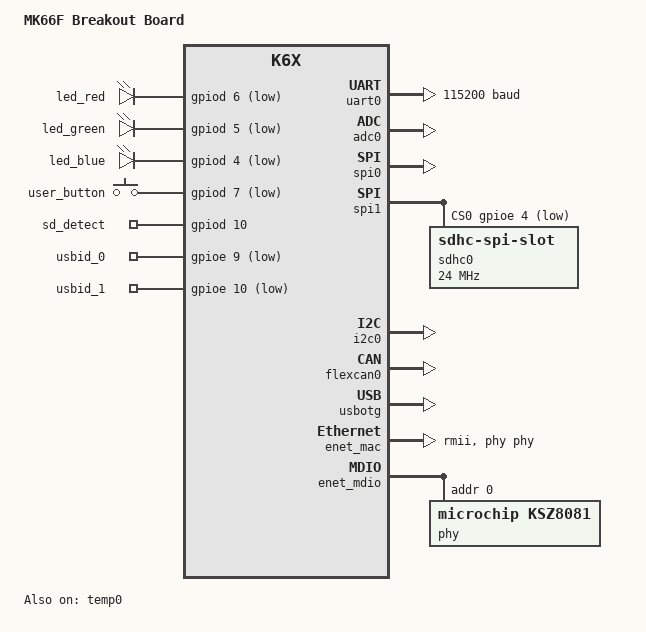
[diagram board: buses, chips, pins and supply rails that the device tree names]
/dts-v1/;
#include <nxp/nxp_k66.dtsi>
#include "k66f_breakout-pinctrl.dtsi"

/ {
    model = "MK66F Breakout Board";
    compatible = "nxp,mk66f18", "nxp,k66f", "nxp,k6x";

    chosen {
        zephyr,sram = &sram0;
        zephyr,flash = &flash0;
        zephyr,console = &uart0;
    };

    aliases {
        led0 = &led_red;
        sw0 = &user_button;
    };

    leds {
        compatible = "gpio-leds";
        led_red:   led_0 { gpios = <&gpiod 6 GPIO_ACTIVE_LOW>; };
        led_green: led_1 { gpios = <&gpiod 5 GPIO_ACTIVE_LOW>; };
        led_blue:  led_2 { gpios = <&gpiod 4 GPIO_ACTIVE_LOW>; };
    };

    buttons {
        compatible = "gpio-keys";
        user_button: button_0 { gpios = <&gpiod 7  (GPIO_ACTIVE_LOW  | GPIO_PULL_UP)>;   };
        sd_detect:   sd_det_0 { gpios = <&gpiod 10 (GPIO_ACTIVE_HIGH | GPIO_PULL_DOWN)>; };
        usbid_0:     usbid_0  { gpios = <&gpioe 9  (GPIO_ACTIVE_LOW  | GPIO_PULL_UP)>;   };
        usbid_1:     usbid_1  { gpios = <&gpioe 10 (GPIO_ACTIVE_LOW  | GPIO_PULL_UP)>;   };
    };
};

&cpu0 {
    clock-frequency = <120000000>;
};

&sim {
    pllfll-select = <KINETIS_SIM_PLLFLLSEL_MCGPLLCLK>;
    er32k-select = <KINETIS_SIM_ER32KSEL_RTC>;
};

&gpioa {
    status = "okay";
};

&gpiob {
    status = "okay";
};

&gpioc {
    status = "okay";
};

&gpiod {
    status = "okay";
};

&gpioe {
    status = "okay";
};

&uart0 {
    status = "okay";
    current-speed = <115200>;
    pinctrl-0 = <&uart0_default>;
    pinctrl-names = "default";
};

&adc0 {
    status = "okay";
};

&temp0 {
    status = "okay";
};

&spi0 {
    status = "okay";
    pinctrl-0 = <&spi0_default>;
    pinctrl-names = "default";
    cs-gpios = <&gpioc 4 GPIO_ACTIVE_LOW>;
};

&spi1 {
    status = "okay";
    pinctrl-0 = <&spi1_default>;
    pinctrl-names = "default";
    cs-gpios = <&gpioe 4 GPIO_ACTIVE_LOW>;

    sdhc0: sdhc@0 {
        compatible = "zephyr,sdhc-spi-slot";
        reg = <0>;
        status = "okay";
        spi-max-frequency = <24000000>;
        mmc {
            compatible = "zephyr,sdmmc-disk";
            status = "okay";
        };
    };
};

&i2c0 {
    status = "okay";
    pinctrl-0 = <&i2c0_default>;
    pinctrl-names = "default";
};

&flexcan0 {
    status = "okay";
    pinctrl-0 = <&flexcan0_default>;
    pinctrl-names = "default";
};

zephyr_udc0: &usbotg {
    compatible = "nxp,kinetis-usbd";
    status = "okay";
    num-bidir-endpoints = <8>;
};

&enet_mac {
    status = "okay";
    pinctrl-0 = <&pinmux_enet>;
    pinctrl-names = "default";
    phy-handle = <&phy>;
    zephyr,random-mac-address;
    phy-connection-type = "rmii";
};

&enet_mdio {
    status = "okay";
    pinctrl-0 = <&pinmux_enet_mdio>;
    pinctrl-names = "default";
    phy: phy@0 {
        compatible = "microchip,ksz8081";
        reg = <0>;
        status = "okay";
        microchip,interface-type = "rmii-25MHz";
    };
};
